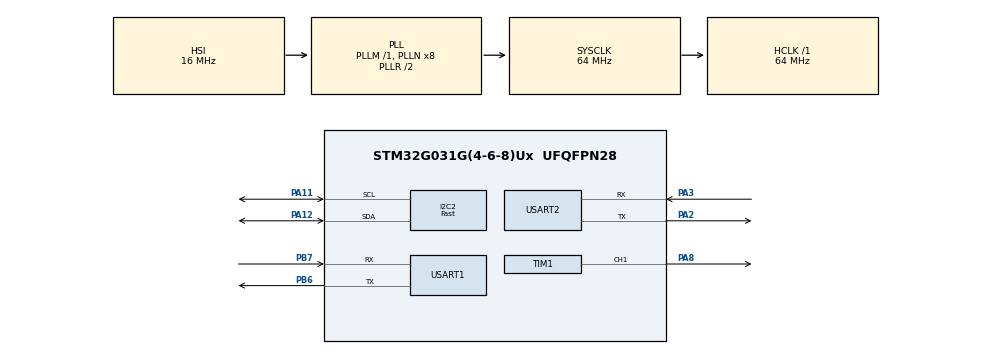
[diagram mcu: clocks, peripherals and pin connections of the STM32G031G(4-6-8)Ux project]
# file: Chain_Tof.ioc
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Dma.Request0=USART1_RX
Dma.Request1=USART1_TX
Dma.Request2=USART2_RX
Dma.Request3=USART2_TX
Dma.Request4=TIM1_CH1
Dma.TIM1_CH1.4.Direction=DMA_MEMORY_TO_PERIPH
Dma.TIM1_CH1.4.EventEnable=DISABLE
Dma.TIM1_CH1.4.Instance=DMA1_Channel5
Dma.TIM1_CH1.4.MemDataAlignment=DMA_MDATAALIGN_BYTE
Dma.TIM1_CH1.4.MemInc=DMA_MINC_ENABLE
Dma.TIM1_CH1.4.Mode=DMA_NORMAL
Dma.TIM1_CH1.4.PeriphDataAlignment=DMA_PDATAALIGN_HALFWORD
Dma.TIM1_CH1.4.PeriphInc=DMA_PINC_DISABLE
Dma.TIM1_CH1.4.Polarity=HAL_DMAMUX_REQ_GEN_RISING
Dma.TIM1_CH1.4.Priority=DMA_PRIORITY_LOW
Dma.TIM1_CH1.4.RequestNumber=1
Dma.TIM1_CH1.4.SignalID=NONE
Dma.TIM1_CH1.4.SyncEnable=DISABLE
Dma.TIM1_CH1.4.SyncPolarity=HAL_DMAMUX_SYNC_NO_EVENT
Dma.TIM1_CH1.4.SyncRequestNumber=1
Dma.TIM1_CH1.4.SyncSignalID=NONE
Dma.USART1_RX.0.Direction=DMA_PERIPH_TO_MEMORY
Dma.USART1_RX.0.EventEnable=DISABLE
Dma.USART1_RX.0.Instance=DMA1_Channel1
Dma.USART1_RX.0.MemDataAlignment=DMA_MDATAALIGN_BYTE
Dma.USART1_RX.0.MemInc=DMA_MINC_ENABLE
Dma.USART1_RX.0.Mode=DMA_NORMAL
Dma.USART1_RX.0.PeriphDataAlignment=DMA_PDATAALIGN_BYTE
Dma.USART1_RX.0.PeriphInc=DMA_PINC_DISABLE
Dma.USART1_RX.0.Polarity=HAL_DMAMUX_REQ_GEN_RISING
Dma.USART1_RX.0.Priority=DMA_PRIORITY_LOW
Dma.USART1_RX.0.RequestNumber=1
Dma.USART1_RX.0.SignalID=NONE
Dma.USART1_RX.0.SyncEnable=DISABLE
Dma.USART1_RX.0.SyncPolarity=HAL_DMAMUX_SYNC_NO_EVENT
Dma.USART1_RX.0.SyncRequestNumber=1
Dma.USART1_RX.0.SyncSignalID=NONE
Dma.USART1_TX.1.Direction=DMA_MEMORY_TO_PERIPH
Dma.USART1_TX.1.EventEnable=DISABLE
Dma.USART1_TX.1.Instance=DMA1_Channel2
Dma.USART1_TX.1.MemDataAlignment=DMA_MDATAALIGN_BYTE
Dma.USART1_TX.1.MemInc=DMA_MINC_ENABLE
Dma.USART1_TX.1.Mode=DMA_NORMAL
Dma.USART1_TX.1.PeriphDataAlignment=DMA_PDATAALIGN_BYTE
Dma.USART1_TX.1.PeriphInc=DMA_PINC_DISABLE
Dma.USART1_TX.1.Polarity=HAL_DMAMUX_REQ_GEN_RISING
Dma.USART1_TX.1.Priority=DMA_PRIORITY_LOW
Dma.USART1_TX.1.RequestNumber=1
Dma.USART1_TX.1.SignalID=NONE
Dma.USART1_TX.1.SyncEnable=DISABLE
Dma.USART1_TX.1.SyncPolarity=HAL_DMAMUX_SYNC_NO_EVENT
Dma.USART1_TX.1.SyncRequestNumber=1
Dma.USART1_TX.1.SyncSignalID=NONE
Dma.USART2_RX.2.Direction=DMA_PERIPH_TO_MEMORY
Dma.USART2_RX.2.EventEnable=DISABLE
Dma.USART2_RX.2.Instance=DMA1_Channel3
Dma.USART2_RX.2.MemDataAlignment=DMA_MDATAALIGN_BYTE
Dma.USART2_RX.2.MemInc=DMA_MINC_ENABLE
Dma.USART2_RX.2.Mode=DMA_NORMAL
Dma.USART2_RX.2.PeriphDataAlignment=DMA_PDATAALIGN_BYTE
Dma.USART2_RX.2.PeriphInc=DMA_PINC_DISABLE
Dma.USART2_RX.2.Polarity=HAL_DMAMUX_REQ_GEN_RISING
Dma.USART2_RX.2.Priority=DMA_PRIORITY_LOW
Dma.USART2_RX.2.RequestNumber=1
Dma.USART2_RX.2.SignalID=NONE
Dma.USART2_RX.2.SyncEnable=DISABLE
Dma.USART2_RX.2.SyncPolarity=HAL_DMAMUX_SYNC_NO_EVENT
Dma.USART2_RX.2.SyncRequestNumber=1
Dma.USART2_RX.2.SyncSignalID=NONE
Dma.USART2_TX.3.Direction=DMA_MEMORY_TO_PERIPH
Dma.USART2_TX.3.EventEnable=DISABLE
Dma.USART2_TX.3.Instance=DMA1_Channel4
Dma.USART2_TX.3.MemDataAlignment=DMA_MDATAALIGN_BYTE
Dma.USART2_TX.3.MemInc=DMA_MINC_ENABLE
Dma.USART2_TX.3.Mode=DMA_NORMAL
Dma.USART2_TX.3.PeriphDataAlignment=DMA_PDATAALIGN_BYTE
Dma.USART2_TX.3.PeriphInc=DMA_PINC_DISABLE
Dma.USART2_TX.3.Polarity=HAL_DMAMUX_REQ_GEN_RISING
Dma.USART2_TX.3.Priority=DMA_PRIORITY_LOW
Dma.USART2_TX.3.RequestNumber=1
Dma.USART2_TX.3.SignalID=NONE
Dma.USART2_TX.3.SyncEnable=DISABLE
Dma.USART2_TX.3.SyncPolarity=HAL_DMAMUX_SYNC_NO_EVENT
Dma.USART2_TX.3.SyncRequestNumber=1
Dma.USART2_TX.3.SyncSignalID=NONE
I2C2.I2C_Speed_Mode=I2C_Fast
I2C2.Timing=0x00602173
IWDG.Prescaler=IWDG_PRESCALER_16
Mcu.Family=STM32G0
Mcu.Name=STM32G031G(4-6-8)Ux
Mcu.Package=UFQFPN28
NVIC.DMA1_Ch4_5_DMAMUX1_OVR_IRQn=true\:1\:0\:true\:false\:true\:false\:true\:true
NVIC.DMA1_Channel1_IRQn=true\:1\:0\:true\:false\:true\:false\:true\:true
NVIC.DMA1_Channel2_3_IRQn=true\:1\:0\:true\:false\:true\:false\:true\:true
NVIC.FLASH_IRQn=true\:1\:0\:true\:false\:true\:true\:true\:true
NVIC.TIM14_IRQn=true\:1\:0\:true\:false\:true\:true\:true\:true
NVIC.TIM16_IRQn=true\:1\:0\:true\:false\:true\:true\:true\:true
NVIC.TIM17_IRQn=true\:1\:0\:true\:false\:true\:true\:true\:true
NVIC.USART1_IRQn=true\:0\:0\:false\:false\:true\:false\:true\:true
NVIC.USART2_IRQn=true\:0\:0\:false\:false\:true\:false\:true\:true
PA11\ [PA9].Mode=I2C
PA11\ [PA9].Signal=I2C2_SCL
PA12\ [PA10].Mode=I2C
PA12\ [PA10].Signal=I2C2_SDA
PA2.GPIO_PuPd=GPIO_PULLUP
PA2.GPIO_Speed=GPIO_SPEED_FREQ_HIGH
PA2.Mode=Asynchronous
PA2.PinState=GPIO_PIN_RESET
PA2.Signal=USART2_TX
PA3.GPIO_PuPd=GPIO_PULLUP
PA3.GPIO_Speed=GPIO_SPEED_FREQ_HIGH
PA3.Mode=Asynchronous
PA3.PinState=GPIO_PIN_RESET
PA3.Signal=USART2_RX
PA8.Signal=S_TIM1_CH1
PB6.GPIO_PuPd=GPIO_PULLUP
PB6.GPIO_Speed=GPIO_SPEED_FREQ_HIGH
PB6.Mode=Asynchronous
PB6.Signal=USART1_TX
PB7.GPIO_PuPd=GPIO_PULLUP
PB7.GPIO_Speed=GPIO_SPEED_FREQ_HIGH
PB7.Mode=Asynchronous
PB7.Signal=USART1_RX
ProjectManager.HeapSize=0x200
ProjectManager.StackSize=0x400
ProjectManager.TargetToolchain=STM32CubeIDE
RCC.ADCFreq_Value=64000000
RCC.AHBFreq_Value=64000000
RCC.CortexFreq_Value=64000000
RCC.EXTERNAL_CLOCK_VALUE=12288000
RCC.HCLKFreq_Value=64000000
RCC.HSE_VALUE=8000000
RCC.HSI_VALUE=16000000
RCC.LSE_VALUE=32768
RCC.PLLQ=RCC_PLLQ_DIV4
RCC.SYSCLKFreq_VALUE=64000000
RCC.SYSCLKSource=RCC_SYSCLKSOURCE_PLLCLK
RCC.VCOOutputFreq_Value=128000000
SH.S_TIM1_CH1.0=TIM1_CH1,PWM Generation1 CH1
TIM1.Channel-PWM\ Generation1\ CH1=TIM_CHANNEL_1
TIM1.Period=79
TIM14.AutoReloadPreload=TIM_AUTORELOAD_PRELOAD_ENABLE
TIM14.Period=1699
TIM14.Prescaler=6399
TIM16.Period=29999
TIM16.Prescaler=6399
TIM17.Period=9999
TIM17.Prescaler=6399
USART1.VirtualMode-Asynchronous=VM_ASYNC
USART2.VirtualMode-Asynchronous=VM_ASYNC
VP_IWDG_VS_IWDG.Mode=IWDG_Activate
VP_TIM14_VS_ClockSourceINT.Mode=Enable_Timer
VP_TIM16_VS_ClockSourceINT.Mode=Enable_Timer
VP_TIM17_VS_ClockSourceINT.Mode=Enable_Timer
VP_TIM1_VS_ClockSourceINT.Mode=Internal
board=custom

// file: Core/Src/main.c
/* USER CODE BEGIN Header */
/**
 ******************************************************************************
 * @file           : main.c
 * @brief          : Main program body
 ******************************************************************************
 * @attention
 *
 * Copyright (c) 2024 STMicroelectronics.
 * All rights reserved.
 *
 * This software is  licensed under terms that can be found in the LICENSE file
 * in the root directory of this software component.
 * If no LICENSE file comes with this software, it is provided AS-IS.
 *
 ******************************************************************************
 */
/* USER CODE END Header */
#include "main.h"
#include "dma.h"
#include "i2c.h"
#include "iwdg.h"
#include "tim.h"
#include "usart.h"
#include "gpio.h"

/* USER CODE BEGIN Includes */
#include "base_function.h"
#include "RGB.h"
#include "myflash.h"
#include "stdio.h"
#include <string.h>
#include <stdint.h>
#include "tof_function.h"
/* USER CODE END Includes */

/* USER CODE BEGIN PV */
// DMA receive buffers
__IO uint8_t g_uart_in_rx_buf[UART_BUFFER_SIZE][BUFFER_SIZE * 2];   // uart_in receive buffer for DMA
__IO uint8_t g_uart_out_rx_buf[UART_BUFFER_SIZE][BUFFER_SIZE * 2];  // uart_out receive buffer for DMA

// Transmission status for UART
__IO uint8_t g_uart_in_rx_index  = 0;  // Index for UART input (receiving) buffer position
__IO uint8_t g_uart_out_rx_index = 0;  // Index for UART output (receiving) buffer position

// Transmission complete flags for UART
__IO uint8_t g_uart_in_transmit_complete  = 1;  // Flag indicating if uart_in transmission is complete (1: complete)
__IO uint8_t g_uart_out_transmit_complete = 1;  // Flag indicating if uart_out transmission is complete (1: complete)
__IO uint8_t g_cmd_buf[BUFFER_SIZE]       = {0};
__IO uint8_t g_cmd_size                   = 0;
__IO uint8_t g_cmd_status                 = CMD_SPACE_IDLE_STATUS;
__IO uint8_t g_tail_status                = CHAIN_TAIL_DEVICE;
__IO uint8_t g_heart_beat_record          = 0;
__IO uint8_t g_bootloader_version         = 0;
__IO uint8_t g_firmware_version           = SOFTWARE_VERSION;
__IO uint16_t g_device_type               = (uint8_t)((PRODUCT_TYPE_HIGH << 8) | PRODUCT_TYPE_LOW);
__IO uint8_t g_light                      = 0;
__IO uint8_t g_uid[12]                    = {0};  // Unique identifier

__IO uint32_t tof_update_time = 0;
/* USER CODE END PV */

void SystemClock_Config(void);

/* USER CODE BEGIN 0 */
/**
 * @brief Set the Interrupt Vector Table for the application in SRAM.
 * @param None
 * @retval None
 */
void iap_set(void)
{
    uint8_t i;                                     // Loop index
    uint32_t *pVecTab = (uint32_t *)(0x20000000);  // Pointer to the vector table in SRAM

    // Copy the interrupt vector table from the application address to SRAM
    for (i = 0; i < 48; i++) {
        // Copy each vector entry to the SRAM vector table
        *(pVecTab++) = *(__IO uint32_t *)(APPLICATION_ADDRESS + (i << 2));
    }

    // Enable the SYSCFG peripheral clock
    __HAL_RCC_SYSCFG_CLK_ENABLE();

    // Remap the memory to use SRAM for the vector table
    __HAL_SYSCFG_REMAPMEMORY_SRAM();
}

/**
 * @brief Initialize the chain device settings.
 * @param None
 * @retval None
 */
void chain_init(void)
{
    // Get the version of the bootloader
    g_bootloader_version = get_bootloader_version();

    // Check if the RGB light setting is set to maximum (0xFF)
    if (get_rgb_light() == 0xFF) {
        // Set the RGB light to a base color if it is maximum
        g_light = RGB_LIGHT_BASE;
        set_rgb_light(g_light);
    } else {
        // Otherwise, get the current RGB light setting
        g_light = get_rgb_light();
    }
}

void read_uid(void)
{
    uint32_t uid0 = HAL_GetUIDw0();
    uint32_t uid1 = HAL_GetUIDw1();
    uint32_t uid2 = HAL_GetUIDw2();

    memcpy(&g_uid[0], &uid0, 4);
    memcpy(&g_uid[4], &uid1, 4);
    memcpy(&g_uid[8], &uid2, 4);
}

/* USER CODE END 0 */

int main(void)
{
    /* USER CODE BEGIN 1 */
    iap_set();
    chain_init();
    read_uid();
    /* USER CODE END 1 */

    /* MCU Configuration--------------------------------------------------------*/

    /* Reset of all peripherals, Initializes the Flash interface and the Systick. */
    HAL_Init();

    /* Configure the system clock */
    SystemClock_Config();

    /* Initialize all configured peripherals */
    MX_GPIO_Init();
    MX_DMA_Init();
    MX_USART1_UART_Init();
    MX_USART2_UART_Init();
    MX_IWDG_Init();
    MX_TIM14_Init();
    MX_TIM16_Init();
    MX_I2C2_Init();
    MX_TIM17_Init();
    MX_TIM1_Init();
    /* USER CODE BEGIN 2 */
    rgb_init();
    chain_tof_init();
    HAL_Delay(1);
    LL_TIM_ClearFlag_UPDATE(TIM14);  // Clear update TIM14
    LL_TIM_EnableIT_UPDATE(TIM14);   // ENABLE TIM14
    LL_TIM_EnableCounter(TIM14);     // ENABLE TIM14
    HAL_Delay(1);
    LL_TIM_ClearFlag_UPDATE(TIM17);  // Clear update TIM17
    LL_TIM_EnableIT_UPDATE(TIM17);   // ENABLE TIM17
    LL_TIM_EnableCounter(TIM17);     // ENABLE TIM17
    HAL_Delay(1);
    LL_TIM_ClearFlag_UPDATE(TIM16);  // Clear update TIM16
    LL_TIM_EnableIT_UPDATE(TIM16);   // ENABLE TIM16
    LL_TIM_EnableCounter(TIM16);     // ENABLE TIM16
    HAL_Delay(1);

    tof_update_time = HAL_GetTick();

    /* USER CODE END 2 */

    /* Infinite loop */
    /* USER CODE BEGIN WHILE */
    while (1) {
        if (g_cmd_status == CMD_SPACE_BUSY_STATUS) {
            switch (g_cmd_buf[0]) {
                case CHAIN_TOF_GET_DISTANCE:
                    chain_tof_get_distance();
                    break;
                case CHAIN_TOF_SET_MEASURE_TIME:
                    chain_tof_set_measurement_time(g_cmd_buf[1]);
                    break;
                case CHAIN_TOF_GET_MEASURE_TIME:
                    chain_tof_get_measurement_time();
                    break;
                case CHAIN_TOF_SET_MEASURE_MODE:
                    chain_tof_set_measurement_mode(g_cmd_buf[1]);
                    break;
                case CHAIN_TOF_GET_MEASURE_MODE:
                    chain_tof_get_measurement_mode();
                    break;
                case CHAIN_TOF_SET_MEASURE_STATUS:
                    chain_tof_set_measurement_status(g_cmd_buf[1]);
                    break;
                case CHAIN_TOF_GET_MEASURE_STATUS:
                    chain_tof_get_measurement_status();
                    break;
                case CHAIN_TOF_GET_MEASURE_COMPLETE_FLAG:
                    chain_tof_get_measurement_complete_flag();
                    break;
                case CHAIN_SET_RGB_VALUE:
                    chain_set_rgb_value((uint8_t *)(g_cmd_buf + 1), (g_cmd_size - 1));
                    break;
                case CHAIN_GET_RGB_VALUE:
                    chain_get_rgb_value((uint8_t *)(g_cmd_buf + 1), (g_cmd_size - 1));
                    break;
                case CHAIN_SET_RGB_LIGHT:
                    chain_set_light_value(g_cmd_buf[1], g_cmd_buf[2]);
                    break;
                case CHAIN_GET_RGB_LIGHT:
                    chain_get_light_value();
                    break;
                case CHAIN_GET_UID:
                    chain_get_uid_handle(g_cmd_buf[1]);
                    break;
                case CHAIN_GET_BOOTLOADER_VERSION:
                    chain_get_bootloader_version_handle();
                    break;
                case CHAIN_GET_VERSION_DEVICE:
                    chain_get_firmware_version_handle();
                    break;
                case CHAIN_GET_DEVICE_TYPE:
                    chain_get_device_type_handle();
                    break;
                case CHAIN_IAP_UPDATE:
                    chain_iap_update_handle(g_cmd_buf[1]);
                    break;
                default:
                    break;
            }
            g_cmd_status = CMD_SPACE_IDLE_STATUS;
        }
        /* USER CODE END WHILE */

        /* USER CODE BEGIN 3 */
        rgb_update();

        if (HAL_GetTick() - tof_update_time >= 1) {
            tof_update_time = HAL_GetTick();
            chain_tof_update_distance();
        }

        LL_IWDG_ReloadCounter(IWDG);
    }
    /* USER CODE END 3 */
}

void SystemClock_Config(void)
{
    RCC_OscInitTypeDef RCC_OscInitStruct = {0};
    RCC_ClkInitTypeDef RCC_ClkInitStruct = {0};

    /** Configure the main internal regulator output voltage
     */
    HAL_PWREx_ControlVoltageScaling(PWR_REGULATOR_VOLTAGE_SCALE1);

    /** Initializes the RCC Oscillators according to the specified parameters
     * in the RCC_OscInitTypeDef structure.
     */
    RCC_OscInitStruct.OscillatorType      = RCC_OSCILLATORTYPE_HSI | RCC_OSCILLATORTYPE_LSI;
    RCC_OscInitStruct.HSIState            = RCC_HSI_ON;
    RCC_OscInitStruct.HSIDiv              = RCC_HSI_DIV1;
    RCC_OscInitStruct.HSICalibrationValue = RCC_HSICALIBRATION_DEFAULT;
    RCC_OscInitStruct.LSIState            = RCC_LSI_ON;
    RCC_OscInitStruct.PLL.PLLState        = RCC_PLL_ON;
    RCC_OscInitStruct.PLL.PLLSource       = RCC_PLLSOURCE_HSI;
    RCC_OscInitStruct.PLL.PLLM            = RCC_PLLM_DIV1;
    RCC_OscInitStruct.PLL.PLLN            = 8;
    RCC_OscInitStruct.PLL.PLLP            = RCC_PLLP_DIV2;
    RCC_OscInitStruct.PLL.PLLQ            = RCC_PLLQ_DIV4;
    RCC_OscInitStruct.PLL.PLLR            = RCC_PLLR_DIV2;
    if (HAL_RCC_OscConfig(&RCC_OscInitStruct) != HAL_OK) {
        Error_Handler();
    }

    /** Initializes the CPU, AHB and APB buses clocks
     */
    RCC_ClkInitStruct.ClockType      = RCC_CLOCKTYPE_HCLK | RCC_CLOCKTYPE_SYSCLK | RCC_CLOCKTYPE_PCLK1;
    RCC_ClkInitStruct.SYSCLKSource   = RCC_SYSCLKSOURCE_PLLCLK;
    RCC_ClkInitStruct.AHBCLKDivider  = RCC_SYSCLK_DIV1;
    RCC_ClkInitStruct.APB1CLKDivider = RCC_HCLK_DIV1;

    if (HAL_RCC_ClockConfig(&RCC_ClkInitStruct, FLASH_LATENCY_2) != HAL_OK) {
        Error_Handler();
    }
}

void Error_Handler(void)
{
    __disable_irq();
    while (1) {
    }
}

#ifdef USE_FULL_ASSERT
/**
 * @brief  Reports the name of the source file and the source line number
 *         where the assert_param error has occurred.
 * @param  file: pointer to the source file name
 * @param  line: assert_param error line source number
 * @retval None
 */
void assert_failed(uint8_t *file, uint32_t line)
{
    /* USER CODE BEGIN 6 */
    /* User can add his own implementation to report the file name and line
       number,
       ex: printf("Wrong parameters value: file %s on line %d\r\n", file, line) */
    /* USER CODE END 6 */
}
#endif /* USE_FULL_ASSERT */
